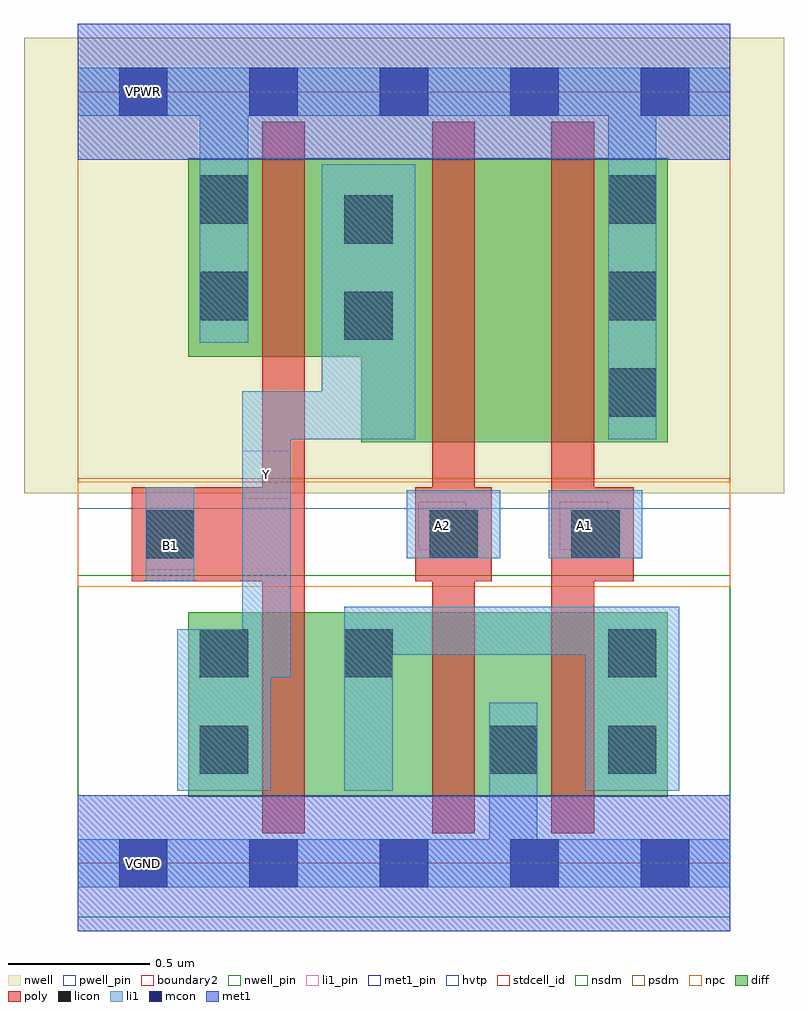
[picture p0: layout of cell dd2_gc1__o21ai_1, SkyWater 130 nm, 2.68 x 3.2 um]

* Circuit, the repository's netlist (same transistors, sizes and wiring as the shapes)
.subckt dd2_gc1__o21ai_1 A1 A2 B1 VGND VNB VPB VPWR Y
X0 Y B1 n1 VNB sky130_fd_pr__nfet_01v8 w=0.65 l=0.15
X1 n1 A1 VGND VNB sky130_fd_pr__nfet_01v8 w=0.65 l=0.15
X2 n1 A2 VGND VNB sky130_fd_pr__nfet_01v8 w=0.65 l=0.15
X3 Y B1 VPWR VPB sky130_fd_pr__pfet_01v8_hvt w=0.7 l=0.15
X4 Y A2 p1 VPB sky130_fd_pr__pfet_01v8_hvt w=1 l=0.15
X5 p1 A1 VPWR VPB sky130_fd_pr__pfet_01v8_hvt w=1 l=0.15
.ends

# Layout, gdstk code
import gdstk
lib = gdstk.Library(unit=1e-6, precision=1e-09)
def R(c, l, rs):  # rectangles x0, y0, x1, y1
    for r in rs: c.add(gdstk.rectangle(r[:2], r[2:], *l))
def A(c, l, x, y, w, h, nx, ny, dx, dy):  # array of equal rectangles
    R(c, l, [(x+i*dx, y+j*dy, x+i*dx+w, y+j*dy+h) for i in range(nx) for j in range(ny)])
def P(c, l, *ps):  # polygons
    for p in ps: c.add(gdstk.Polygon(p, *l))
nwell_pin = (64, 16)
nwell = (64, 20)
diff = (65, 20)
poly = (66, 20)
licon = (66, 44)
li1_pin = (67, 16)
li1 = (67, 20)
mcon = (67, 44)
met1_pin = (68, 16)
met1 = (68, 20)
hvtp = (78, 44)
stdcell_id = (81, 4)
nsdm = (93, 44)
psdm = (94, 20)
npc = (95, 20)
pwell_pin = (122, 16)
boundary2 = (236, 0)

dd2_gc1__o21ai_1 = lib.new_cell('dd2_gc1__o21ai_1')
R(dd2_gc1__o21ai_1, nwell_pin, [(0.145,2.635,0.315,2.805)])
R(dd2_gc1__o21ai_1, nwell, [(-0.19,1.305,2.49,2.91)])
R(dd2_gc1__o21ai_1, diff, [(0.39,0.235,2.08,0.885)])
P(dd2_gc1__o21ai_1, diff, [(1,1.485),(1,1.785),(0.39,1.785),(0.39,2.485),(2.08,2.485),(2.08,1.485)])
R(dd2_gc1__o21ai_1, poly, [(0.65,0.105,0.8,2.615), (1.25,0.105,1.4,2.615), (1.67,0.105,1.82,2.615), (0.19,0.995,0.8,1.325), (1.19,0.995,1.46,1.325), (1.67,0.995,1.96,1.325)])
A(dd2_gc1__o21ai_1, licon, 1.87, 1.575, 0.17, 0.17, 1, 3, 0, 0.34)
R(dd2_gc1__o21ai_1, licon, [(0.43,0.315,0.6,0.485), (1.45,0.315,1.62,0.485), (1.87,0.315,2.04,0.485), (0.43,0.655,0.6,0.825), (0.94,0.655,1.11,0.825), (1.87,0.655,2.04,0.825), (0.24,1.075,0.41,1.245), (1.24,1.075,1.41,1.245), (1.74,1.075,1.91,1.245), (0.94,1.845,1.11,2.015), (0.43,1.915,0.6,2.085), (0.94,2.185,1.11,2.355), (0.43,2.255,0.6,2.425)])
R(dd2_gc1__o21ai_1, li1_pin, [(0.24,1.035,0.41,1.205), (1.2,1.105,1.37,1.275), (1.7,1.105,1.87,1.275), (0.58,1.285,0.75,1.455)])
R(dd2_gc1__o21ai_1, li1, [(0,-0.085,2.3,0.085), (1.45,-0.085,1.62,0.565), (0.35,0.255,0.68,0.825), (0.94,0.255,1.11,0.905), (1.79,0.255,2.12,0.905), (0.43,0.655,0.75,0.825), (0.94,0.735,2.12,0.905), (0.58,0.815,0.75,1.505), (0.24,0.995,0.41,1.325), (1.16,1.075,1.49,1.315), (1.66,1.075,1.99,1.315), (0.58,1.495,1.19,1.665), (0.86,1.495,1.19,2.465), (1.87,1.495,2.04,2.805), (0.43,1.835,0.6,2.805), (0,2.635,2.3,2.805)])
A(dd2_gc1__o21ai_1, mcon, 0.145, -0.085, 0.17, 0.17, 5, 2, 0.46, 2.72)
R(dd2_gc1__o21ai_1, met1_pin, [(0.145,-0.085,0.315,0.085), (0.145,2.635,0.315,2.805)])
R(dd2_gc1__o21ai_1, met1, [(0,-0.24,2.3,0.24), (0,2.48,2.3,2.96)])
R(dd2_gc1__o21ai_1, hvtp, [(0,1.25,2.3,2.72)])
R(dd2_gc1__o21ai_1, stdcell_id, [(0,0,2.3,2.72)])
R(dd2_gc1__o21ai_1, nsdm, [(0,-0.19,2.3,1.015)])
R(dd2_gc1__o21ai_1, psdm, [(0,1.355,2.3,2.91)])
R(dd2_gc1__o21ai_1, npc, [(0,0.975,2.3,1.345)])
R(dd2_gc1__o21ai_1, pwell_pin, [(0.145,-0.085,0.315,0.085)])
R(dd2_gc1__o21ai_1, boundary2, [(0,0,2.3,2.72)])
dd2_gc1__o21ai_1.add(gdstk.Label('B1', (0.325,1.12), layer=67, texttype=5))
dd2_gc1__o21ai_1.add(gdstk.Label('A2', (1.285,1.19), layer=67, texttype=5))
dd2_gc1__o21ai_1.add(gdstk.Label('A1', (1.785,1.19), layer=67, texttype=5))
dd2_gc1__o21ai_1.add(gdstk.Label('Y', (0.665,1.37), layer=67, texttype=5))
dd2_gc1__o21ai_1.add(gdstk.Label('VGND', (0.23,0), layer=68, texttype=5))
dd2_gc1__o21ai_1.add(gdstk.Label('VPWR', (0.23,2.72), layer=68, texttype=5))
dd2_gc1__o21ai_1.add(gdstk.Label('VPB', (0.23,2.72), layer=64, texttype=5))
dd2_gc1__o21ai_1.add(gdstk.Label('VNB', (0.23,0), layer=64, texttype=59))

lib.write_gds('dd2_gc1__o21ai_1.gds')
